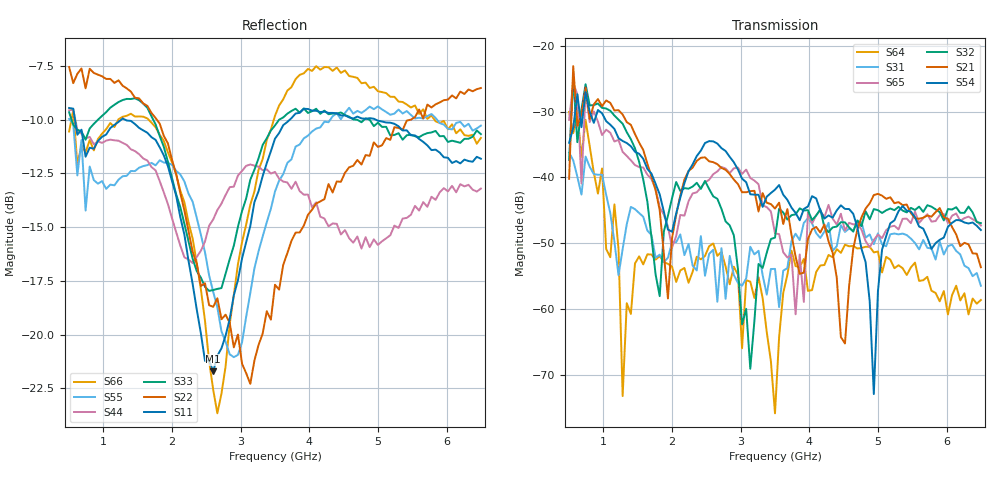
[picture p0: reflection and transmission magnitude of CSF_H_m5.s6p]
!Keysight Technologies,M9804A,MY58100912,A.14.10.03
!Date: Thursday, April 27, 2023 10:28:33
!Correction: S11(C  6-Port  )
!S12(C  6-Port  )
!S13(C  6-Port  )
!S14(C  6-Port  )
!S15(C  6-Port  )
!S16(C  6-Port  )
!S21(C  6-Port  )
!S22(C  6-Port  )
!S23(C  6-Port  )
!S24(C  6-Port  )
!S25(C  6-Port  )
!S26(C  6-Port  )
!S31(C  6-Port  )
!S32(C  6-Port  )
!S33(C  6-Port  )
!S34(C  6-Port  )
!S35(C  6-Port  )
!S36(C  6-Port  )
!S41(C  6-Port  )
!S42(C  6-Port  )
!S43(C  6-Port  )
!S44(C  6-Port  )
!S45(C  6-Port  )
!S46(C  6-Port  )
!S51(C  6-Port  )
!S52(C  6-Port  )
!S53(C  6-Port  )
!S54(C  6-Port  )
!S55(C  6-Port  )
!S56(C  6-Port  )
!S61(C  6-Port  )
!S62(C  6-Port  )
!S63(C  6-Port  )
!S64(C  6-Port  )
!S65(C  6-Port  )
!S66(C  6-Port  )
!S6P File: Measurement: :
# Hz S  RI  R 50
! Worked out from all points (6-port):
!   101 points, 500 MHz to 6.5 GHz, reference 50 ohm
!   strongest paths, dB at 500 MHz, 2 GHz, 3.5 GHz, 5 GHz, 6.5 GHz:
!     S54: -34.7, -48.3, -41.9, -57.3, -48.0
!     S21: -40.2, -49.2, -44.7, -42.5, -53.7
!     S32: -37.3, -43.1, -49.2, -45.0, -47.0
!     S65: -31.2, -50.7, -48.5, -48.7, -47.3
!     S31: -36.2, -49.9, -53.9, -48.5, -56.5
!     S64: -30.0, -53.6, -75.9, -51.3, -58.6
!   lowest |S11| = -21.7 dB at 2.6 GHz (marker M1), VSWR 1.18, Z = 42.7 + j1.99 ohm
!   |S11| at or under -10 dB: 585.4 MHz to 1.259 GHz (673.5 MHz wide, 73 % of centre); 1.316 GHz to 3.715 GHz (2.399 GHz wide, 95.4 % of centre); 4.969 GHz to end of sweep
